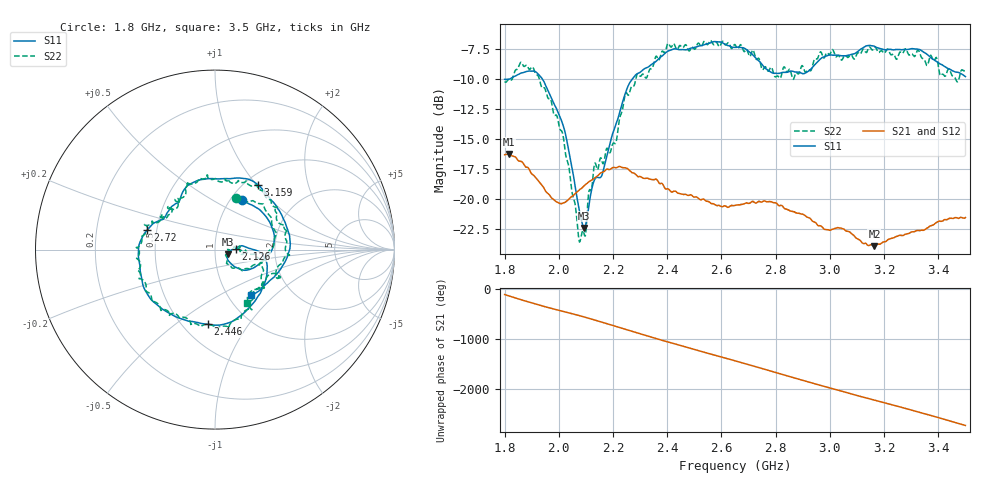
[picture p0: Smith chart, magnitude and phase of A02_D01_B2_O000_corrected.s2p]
! Created with skrf 1.9.0 (http://scikit-rf.org).
# Hz S RI R 50.0
!freq ReS11 ImS11 ReS21 ImS21 ReS12 ImS12 ReS22 ImS22
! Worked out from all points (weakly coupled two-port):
!   1601 points, 1.8 GHz to 3.5 GHz, reference 50 ohm
!   highest |S21| = -16.27 dB at 1.816 GHz (marker M1); lowest = -23.9 dB at 3.164 GHz (marker M2)
!   lowest |S11| = -22.4 dB at 2.093 GHz (marker M3), VSWR 1.16, Z = 57.5 - j3.04 ohm
!   |S11| at or under -10 dB: start of sweep to 1.82 GHz; 1.939 GHz to 2.272 GHz (333 MHz wide, 15.8 % of centre)
!   |S22| runs from -23.6 to -6.8 dB; largest |S21 - S12| = 0.0031
!   S11 on the Smith chart (normalised r, x): 1.8 GHz: 1.12, +0.69; 2.126 GHz: 1.26, +0.01; 2.446 GHz: 0.66, -0.66; 2.72 GHz: 0.44, +0.11; 3.159 GHz: 1.15, +1.02; 3.5 GHz: 1.27, -0.72
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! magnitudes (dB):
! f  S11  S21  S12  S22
! 1.8 GHz  -10.0  -16.3  -16.3  -10.2
! 1.816 GHz  -10.0  -16.3  -16.3  -10.0
! 1.902 GHz  -9.4  -18.0  -17.9  -9.0
! 1.968 GHz  -11.4  -19.8  -19.8  -11.6
! 2.022 GHz  -14.4  -20.3  -20.3  -15.8
! 2.073 GHz  -20.6  -19.3  -19.3  -23.2
! 2.084 GHz  -21.8  -19.1  -19.1  -22.9
! 2.093 GHz  -22.4  -18.9  -19.0  -22.9
! 2.126 GHz  -18.8  -18.4  -18.4  -18.1
! 2.16 GHz  -18.0  -17.8  -17.7  -16.9
! 2.208 GHz  -14.0  -17.4  -17.4  -15.4
! 2.259 GHz  -10.4  -17.6  -17.6  -11.3
! 2.367 GHz  -8.4  -18.6  -18.6  -8.4
! 2.446 GHz  -7.6  -19.6  -19.6  -7.2
! 2.65 GHz  -7.4  -20.5  -20.5  -7.1
! 2.72 GHz  -8.1  -20.3  -20.2  -7.8
! 2.808 GHz  -9.5  -20.5  -20.5  -9.8
! 2.934 GHz  -9.1  -21.8  -21.8  -9.1
! 3.159 GHz  -7.3  -23.9  -23.8  -7.6
! 3.164 GHz  -7.3  -23.9  -23.9  -7.4
! 3.217 GHz  -7.5  -23.4  -23.3  -7.7
! 3.5 GHz  -9.8  -21.6  -21.6  -9.2
